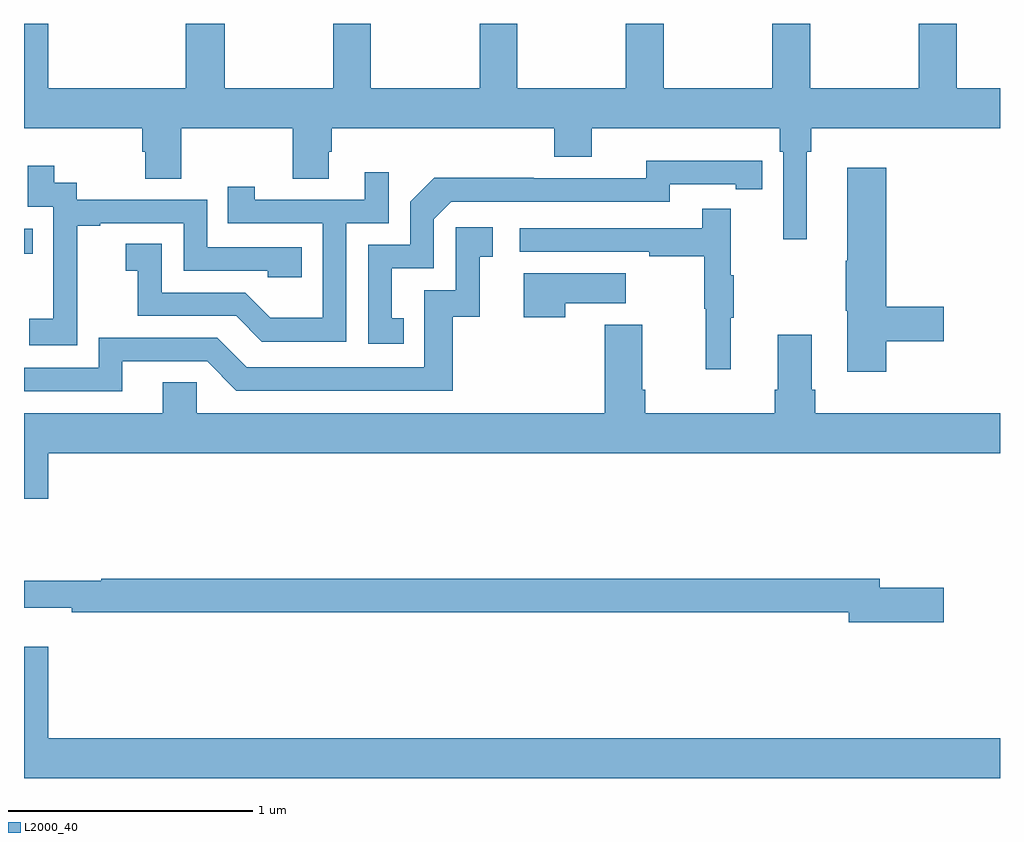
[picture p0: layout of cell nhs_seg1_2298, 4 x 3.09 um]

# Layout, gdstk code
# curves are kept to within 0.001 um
import gdstk
lib = gdstk.Library(unit=1e-6, precision=1e-09)
def R(c, l, rs):  # rectangles x0, y0, x1, y1
    for r in rs: c.add(gdstk.rectangle(r[:2], r[2:], *l))
def P(c, l, *ps):  # polygons
    for p in ps: c.add(gdstk.Polygon(p, *l))
L2000_40 = (2000, 40)

nhs_seg1_2298 = lib.new_cell('nhs_seg1_2298')
R(nhs_seg1_2298, L2000_40, [(237,511.258,237.035,511.359)])
P(nhs_seg1_2298, L2000_40, [(240.208,511.676),(240.227,511.676),(240.227,511.772),(241,511.772),(241,511.936),(240.822,511.936),(240.822,512.199),(240.667,512.199),(240.667,511.936),(240.222,511.936),(240.222,512.199),(240.067,512.199),(240.067,511.936),(239.622,511.936),(239.622,512.199),(239.467,512.199),(239.467,511.936),(239.022,511.936),(239.022,512.199),(238.867,512.199),(238.867,511.936),(238.422,511.936),(238.422,512.199),(238.267,512.199),(238.267,511.936),(237.822,511.936),(237.822,512.199),(237.662,512.199),(237.662,511.936),(237.1,511.936),(237.1,512.199),(237,512.199),(237,511.772),(237.485,511.772),(237.485,511.674),(237.497,511.674),(237.497,511.564),(237.645,511.564),(237.645,511.772),(238.102,511.772),(238.102,511.564),(238.249,511.564),(238.249,511.674),(238.262,511.674),(238.262,511.772),(239.174,511.772),(239.174,511.655),(239.326,511.655),(239.326,511.772),(240.098,511.772),(240.098,511.676),(240.111,511.676),(240.111,511.317),(240.208,511.317)],
  [(238.556,510.993),(238.507,510.993),(238.507,511.197),(238.68,511.197),(238.68,511.398),(238.752,511.47),(239.646,511.47),(239.646,511.542),(239.918,511.542),(239.918,511.522),(240.026,511.522),(240.026,511.638),(239.55,511.639),(239.55,511.566),(239.09,511.566),(239.09,511.568),(238.682,511.568),(238.584,511.47),(238.584,511.293),(238.41,511.293),(238.41,510.888),(238.556,510.888)],
  [(237.219,511.087),(237.218,511.087),(237.218,511.371),(237.313,511.371),(237.313,511.383),(237.654,511.383),(237.654,511.188),(237.999,511.188),(237.999,511.161),(238.139,511.161),(238.139,511.284),(237.75,511.284),(237.75,511.479),(237.216,511.479),(237.216,511.548),(237.124,511.548),(237.124,511.618),(237.015,511.618),(237.015,511.449),(237.12,511.449),(237.12,511.22),(237.119,511.22),(237.119,510.991),(237.021,510.991),(237.021,510.881),(237.219,510.881)],
  [(240.533,510.898),(240.769,510.898),(240.769,511.04),(240.533,511.04),(240.533,511.609),(240.374,511.609),(240.374,511.229),(240.367,511.229),(240.367,511.023),(240.374,511.023),(240.374,510.774),(240.533,510.774)],
  [(238.32,511.383),(238.494,511.383),(238.494,511.591),(238.397,511.591),(238.397,511.479),(237.946,511.479),(237.946,511.531),(237.835,511.531),(237.835,511.383),(238.224,511.383),(238.224,510.994),(238.01,510.994),(237.906,511.098),(237.564,511.098),(237.564,511.297),(237.417,511.297),(237.417,511.187),(237.466,511.187),(237.466,511.002),(237.869,511.002),(237.974,510.897),(238.32,510.897)],
  [(239.897,510.995),(239.908,510.995),(239.908,511.169),(239.897,511.169),(239.897,511.441),(239.779,511.441),(239.779,511.362),(239.031,511.362),(239.031,511.266),(239.563,511.266),(239.563,511.246),(239.787,511.246),(239.787,511.032),(239.794,511.032),(239.794,510.783),(239.897,510.783)],
  [(237.403,510.816),(237.75,510.816),(237.87,510.696),(238.757,510.696),(238.757,510.999),(238.868,510.999),(238.868,511.245),(238.921,511.245),(238.921,511.366),(238.77,511.366),(238.77,511.107),(238.641,511.107),(238.641,510.792),(237.912,510.792),(237.792,510.912),(237.306,510.912),(237.306,510.789),(237,510.789),(237,510.693),(237.403,510.693)],
  [(239.219,511.055),(239.467,511.055),(239.467,511.177),(239.048,511.177),(239.048,510.996),(239.219,510.996)],
  [(237.1,510.44),(241,510.44),(241,510.604),(240.242,510.604),(240.242,510.7),(240.229,510.7),(240.229,510.925),(240.089,510.925),(240.089,510.7),(240.077,510.7),(240.077,510.604),(239.546,510.604),(239.546,510.7),(239.533,510.7),(239.533,510.967),(239.381,510.967),(239.381,510.604),(237.708,510.604),(237.708,510.731),(237.569,510.731),(237.569,510.604),(237,510.604),(237,510.252),(237.1,510.252)],
  [(240.769,509.888),(240.508,509.888),(240.508,509.924),(237.317,509.924),(237.317,509.917),(237,509.917),(237,509.807),(237.196,509.807),(237.196,509.788),(240.38,509.788),(240.38,509.746),(240.769,509.746)],
  [(241,509.272),(237.1,509.272),(237.1,509.647),(237,509.647),(237,509.108),(241,509.108)])

lib.write_gds('nhs_seg1_2298.gds')
